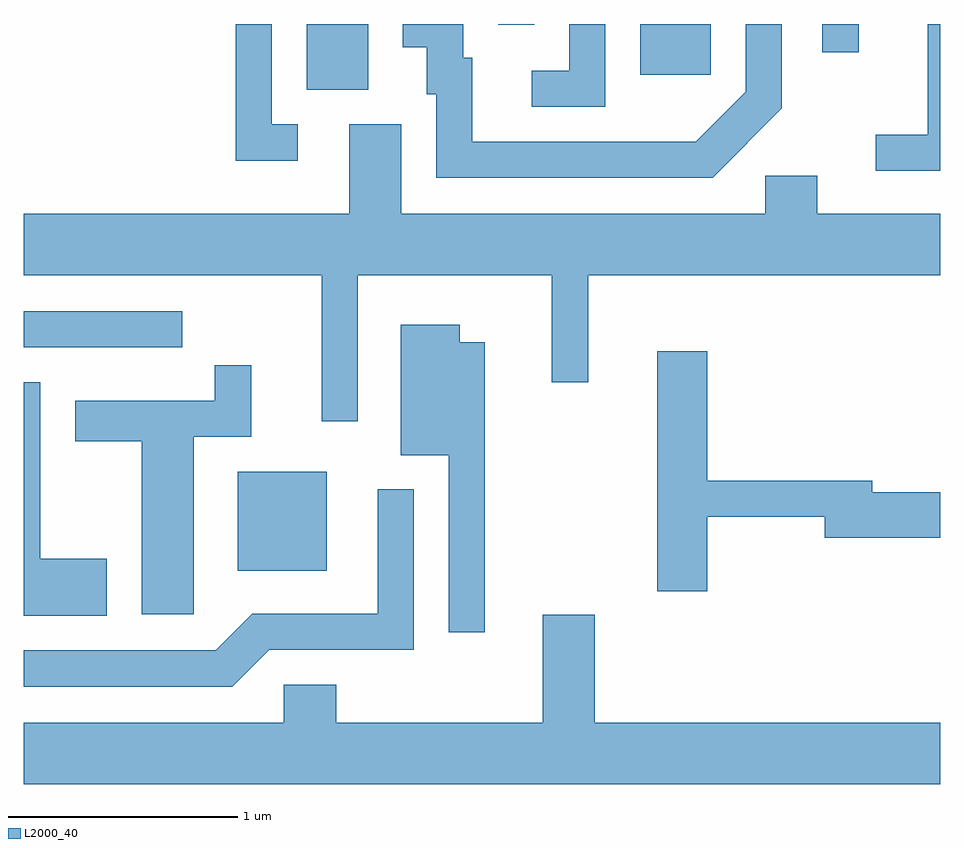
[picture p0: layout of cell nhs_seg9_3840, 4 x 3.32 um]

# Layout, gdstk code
import gdstk
lib = gdstk.Library(unit=1e-6, precision=1e-09)
def R(c, l, rs):  # rectangles x0, y0, x1, y1
    for r in rs: c.add(gdstk.rectangle(r[:2], r[2:], *l))
def P(c, l, *ps):  # polygons
    for p in ps: c.add(gdstk.Polygon(p, *l))
L2000_40 = (2000, 40)

nhs_seg9_3840 = lib.new_cell('nhs_seg9_3840')
R(nhs_seg9_3840, L2000_40, [(298.546,2026.046,298.934,2026.479), (297.611,2027.021,298.303,2027.179), (298.846,2028.146,299.114,2028.432), (300.301,2028.211,300.609,2028.432), (301.096,2028.308,301.254,2028.432), (299.681,2028.428,299.839,2028.432)])
P(nhs_seg9_3840, L2000_40, [(300.919,2028.064),(300.919,2028.432),(300.761,2028.432),(300.761,2028.137),(300.544,2027.919),(299.569,2027.919),(299.569,2028.284),(299.529,2028.284),(299.529,2028.432),(299.266,2028.432),(299.266,2028.331),(299.371,2028.331),(299.371,2028.126),(299.411,2028.126),(299.411,2027.761),(300.617,2027.761)],
  [(298.808,2027.994),(298.694,2027.994),(298.694,2028.432),(298.536,2028.432),(298.536,2027.836),(298.808,2027.836)],
  [(301.611,2028.432),(301.556,2028.432),(301.556,2027.949),(301.328,2027.949),(301.328,2027.791),(301.611,2027.791)],
  [(300.149,2028.432),(299.991,2028.432),(299.991,2028.229),(299.828,2028.229),(299.828,2028.071),(300.149,2028.071)],
  [(299.069,2027.336),(299.916,2027.336),(299.916,2026.868),(300.074,2026.868),(300.074,2027.336),(301.611,2027.336),(301.611,2027.604),(301.074,2027.604),(301.074,2027.769),(300.846,2027.769),(300.846,2027.604),(299.259,2027.604),(299.259,2027.994),(299.031,2027.994),(299.031,2027.604),(297.611,2027.604),(297.611,2027.336),(298.911,2027.336),(298.911,2026.698),(299.069,2026.698)],
  [(299.624,2027.044),(299.514,2027.044),(299.514,2027.119),(299.256,2027.119),(299.256,2026.551),(299.466,2026.551),(299.466,2025.778),(299.624,2025.778)],
  [(300.594,2026.281),(301.106,2026.281),(301.106,2026.191),(301.611,2026.191),(301.611,2026.389),(301.314,2026.389),(301.314,2026.439),(300.594,2026.439),(300.594,2027.004),(300.376,2027.004),(300.376,2025.956),(300.594,2025.956)],
  [(298.354,2026.631),(298.604,2026.631),(298.604,2026.943),(298.446,2026.943),(298.446,2026.789),(297.836,2026.789),(297.836,2026.611),(298.126,2026.611),(298.126,2025.856),(298.354,2025.856)],
  [(297.974,2026.099),(297.684,2026.099),(297.684,2026.869),(297.611,2026.869),(297.611,2025.851),(297.974,2025.851)],
  [(298.682,2025.701),(299.314,2025.701),(299.314,2026.403),(299.156,2026.403),(299.156,2025.859),(298.609,2025.859),(298.449,2025.699),(297.611,2025.699),(297.611,2025.541),(298.522,2025.541)],
  [(301.611,2025.384),(300.104,2025.384),(300.104,2025.854),(299.876,2025.854),(299.876,2025.384),(298.974,2025.384),(298.974,2025.549),(298.746,2025.549),(298.746,2025.384),(297.611,2025.384),(297.611,2025.116),(301.611,2025.116)])

lib.write_gds('nhs_seg9_3840.gds')
